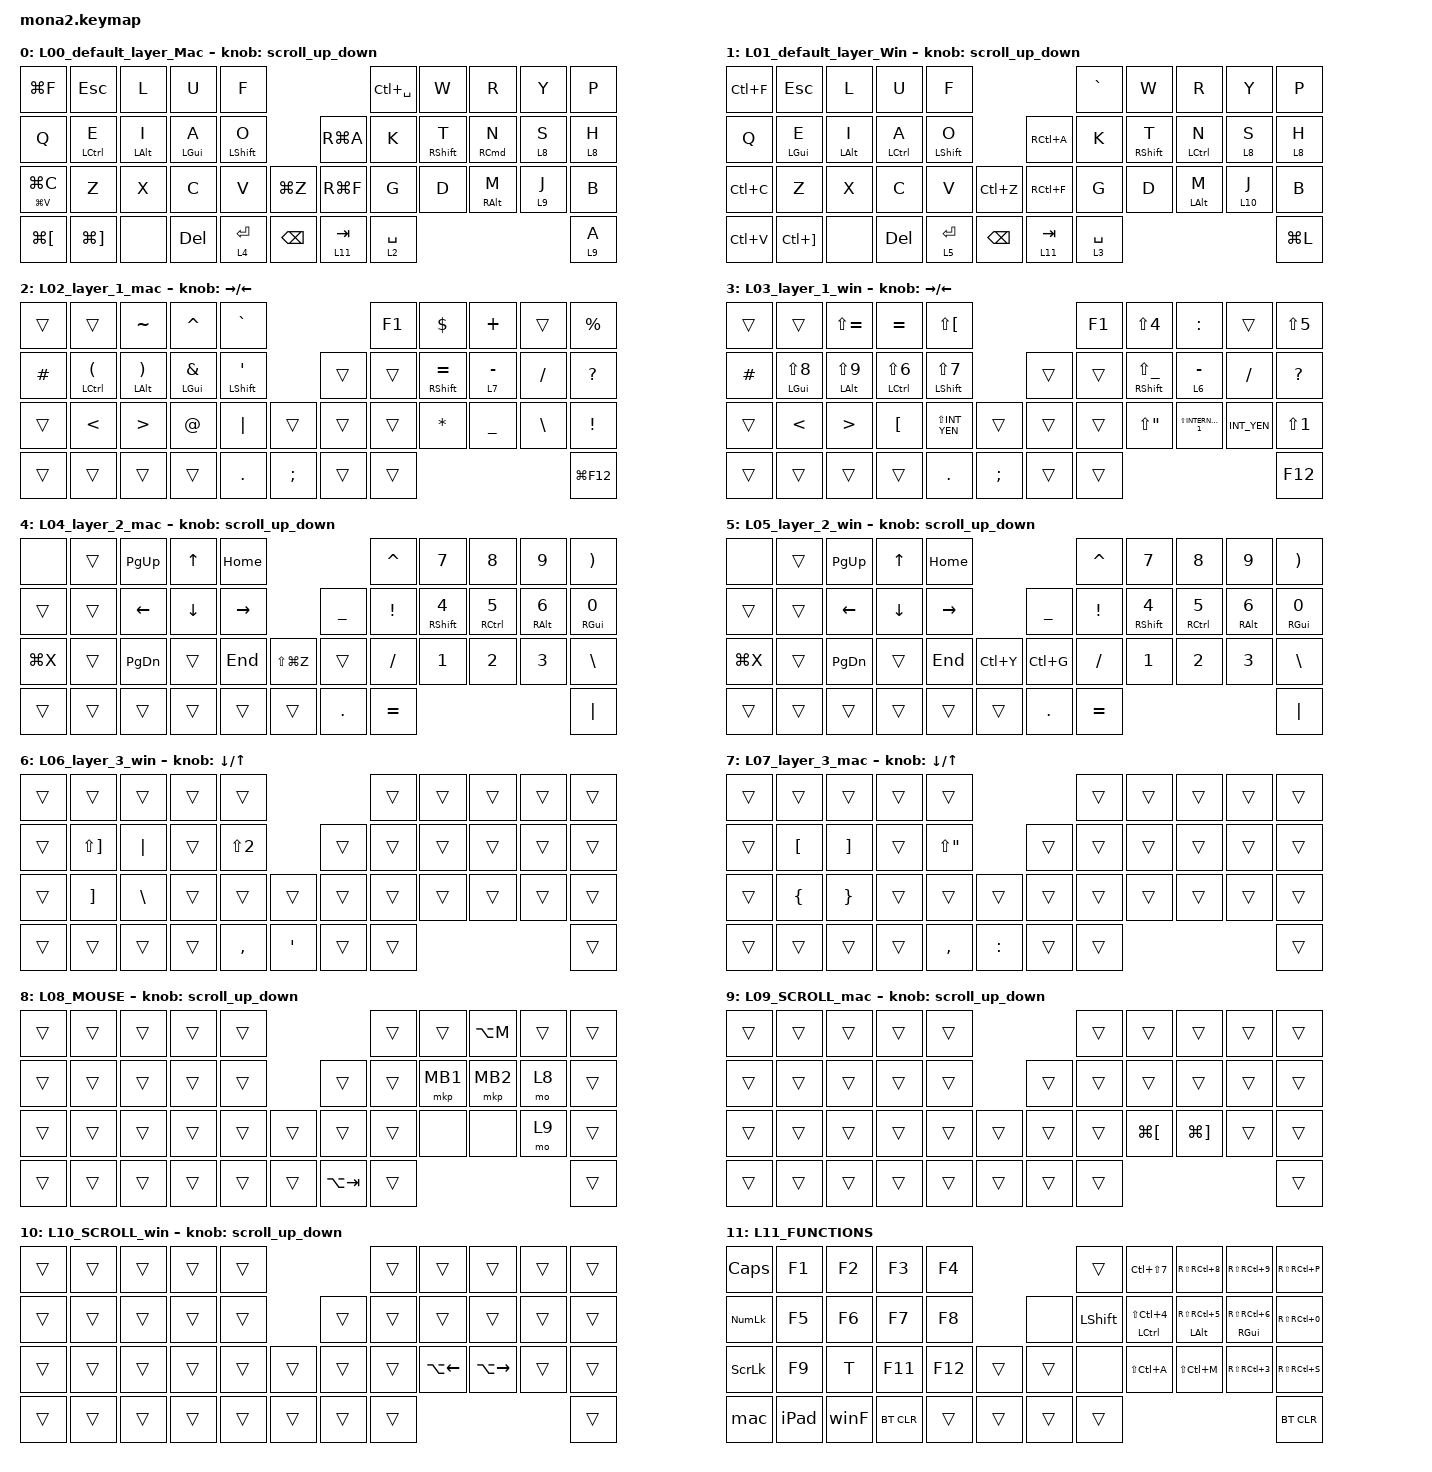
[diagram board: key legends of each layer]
#include <input/processors.dtsi>
#include <dt-bindings/zmk/input_transform.h>
#include <zephyr/dt-bindings/input/input-event-codes.h>
#include <behaviors.dtsi>
#include <dt-bindings/zmk/bt.h>
#include <dt-bindings/zmk/keys.h>
#include <dt-bindings/zmk/pointing.h>

#define ZMK_POINTING_DEFAULT_SCRL_VAL 100
#define MOUSE 5
#define SCROLL 6

// OS設定を日本語キーボードのまま使用するための変換定義

#define JP_DQUOTE       AT                // "
#define JP_AMPERSAND    CARET             // &
#define JP_QUOTE        AMPERSAND         // '
#define JP_EQUAL        UNDER             // =
#define JP_CARET        EQUAL             // ^
#define JP_YEN          0x89              // ¥
#define JP_PLUS         COLON             // +
#define JP_TILDE        PLUS              // ~
#define JP_PIPE         LS(0x89)          // |
#define JP_AT           LEFT_BRACKET      // @
#define JP_COLON        SINGLE_QUOTE      // :
#define JP_ASTERISK     DOUBLE_QUOTES     // *
#define JP_BACKQUOTE    LEFT_BRACE        // `
#define JP_UNDERSCORE   LS(0x87)          // _
#define JP_LBRACKET     RIGHT_BRACKET     // [
#define JP_RBRACKET     BACKSLASH         // ]
#define JP_LPAREN       ASTERISK          // (
#define JP_RPAREN       LEFT_PARENTHESIS  // )
#define JP_LBRACE       RIGHT_BRACE       // {
#define JP_RBRACE       PIPE              // }
#define JP_KANA         LANGUAGE_1        // かな
#define JP_EISU         LANGUAGE_2        // 英数
#define JP_HANZEN       GRAVE             // 半角/全角

&mt {
    flavor = "balanced";
    quick-tap-ms = <0>;
};

/ {
    combos {
        compatible = "zmk,combos";

        mc {
            bindings = <&mkp MB3>;
            key-positions = <18 17>;
            layers = <8>;
        };

        raycast {
            bindings = <&kp LA(LEFT_SHIFT)>;
            key-positions = <37 38>;
        };
    };

    macros {
        to_layer_0: to_layer_0 {
            compatible = "zmk,behavior-macro-one-param";
            #binding-cells = <1>;
            bindings = <&to 0 &macro_param_1to1 &kp MACRO_PLACEHOLDER>;
            label = "TO_LAYER_0";
        };

        mac: new_macro {
            compatible = "zmk,behavior-macro";
            #binding-cells = <0>;
            bindings =
                <&tog_off 1>,
                <&macro_wait_time 200>,
                <&bt BT_SEL 0>,
                <&macro_wait_time 500>;

            label = "NEW_MACRO";
        };

        iPad: win {
            compatible = "zmk,behavior-macro";
            #binding-cells = <0>;
            bindings =
                <&tog_off 1>,
                <&macro_wait_time 200>,
                <&bt BT_SEL 1>,
                <&macro_wait_time 500>,
                <&tog_on 0>;

            label = "WIN";
        };

        winF: winF {
            compatible = "zmk,behavior-macro";
            #binding-cells = <0>;
            bindings =
                <&tog_off 1>,
                <&macro_wait_time 200>,
                <&bt BT_SEL 3>,
                <&macro_wait_time 500>,
                <&tog_on 1>;

            label = "WINF";
        };
    };

    behaviors {
        lt_to_layer_0: lt_to_layer_0 {
            compatible = "zmk,behavior-hold-tap";
            label = "LAYER_TAP_TO_0";
            bindings = <&mo>, <&to_layer_0>;

            #binding-cells = <2>;
            tapping-term-ms = <200>;
        };

        scroll_up_down: sensorRotateMouseWheelUpDown {
            compatible = "zmk,behavior-sensor-rotate";
            #sensor-binding-cells = <0>;
            bindings = <&msc SCRL_UP>, <&msc SCRL_DOWN>;

            tap-ms = <20>;
            label = "mouse";
        };

        tog_on: toggle_layer_on_only {
            compatible = "zmk,behavior-toggle-layer";
            #binding-cells = <1>;
            display-name = "Toggle Layer On";
            toggle-mode = "on";
        };

        tog_off: toggle_layer_off_only {
            compatible = "zmk,behavior-toggle-layer";
            #binding-cells = <1>;
            display-name = "Toggle Layer Off";
            toggle-mode = "off";
        };
    };

    keymap {
        compatible = "zmk,keymap";

        L00_default_layer_Mac {
            bindings = <
&kp LG(F)             &kp ESC                &kp L           &kp U           &kp F                                          &kp LC(SPACE)  &kp W              &kp R                &kp Y    &kp P
&kp Q                 &mt LEFT_CONTROL E     &mt LEFT_ALT I  &mt LEFT_GUI A  &mt LEFT_SHIFT O                   &kp RG(A)   &kp K          &mt RIGHT_SHIFT T  &mt RIGHT_COMMAND N  &lt 8 S  &lt 8 H
&mt LG(V) LG(C)       &kp Z                  &kp X           &kp C           &kp V             &kp LG(Z)        &kp RG(F)   &kp G          &kp D              &mt RIGHT_ALT M      &lt 9 J  &kp B
&kp LG(LEFT_BRACKET)  &kp LG(RIGHT_BRACKET)  &none           &kp DELETE      &lt 4 ENTER       &kp BACKSPACE    &lt 11 TAB  &lt 2 SPACE                                                     &lt_to_layer_0 9 A
            >;

            sensor-bindings = <&scroll_up_down>;
        };

        L01_default_layer_Win {
            bindings = <
&kp LC(F)  &kp ESC                &kp L           &kp U               &kp F                                          &kp GRAVE    &kp W              &kp R               &kp Y     &kp P
&kp Q      &mt LEFT_GUI E         &mt LEFT_ALT I  &mt LEFT_CONTROL A  &mt LEFT_SHIFT O                   &kp RC(A)   &kp K        &mt RIGHT_SHIFT T  &mt LEFT_CONTROL N  &lt 8 S   &lt 8 H
&kp LC(C)  &kp Z                  &kp X           &kp C               &kp V             &kp LC(Z)        &kp RC(F)   &kp G        &kp D              &mt LEFT_ALT M      &lt 10 J  &kp B
&kp LC(V)  &kp LC(RIGHT_BRACKET)  &none           &kp DELETE          &lt 5 ENTER       &kp BACKSPACE    &lt 11 TAB  &lt 3 SPACE                                                   &kp LG(L)
            >;

            sensor-bindings = <&scroll_up_down>;
        };

        L02_layer_1_mac {
            bindings = <
&trans    &trans                             &kp TILDE                       &kp CARET               &kp GRAVE                                             &kp F1  &kp DOLLAR             &kp PLUS     &trans         &kp PERCENT
&kp HASH  &mt LEFT_CONTROL LEFT_PARENTHESIS  &mt LEFT_ALT RIGHT_PARENTHESIS  &mt LEFT_GUI AMPERSAND  &mt LEFT_SHIFT SINGLE_QUOTE                   &trans  &trans  &mt RIGHT_SHIFT EQUAL  &lt 7 MINUS  &kp SLASH      &kp QMARK
&trans    &kp LT                             &kp GT                          &kp AT_SIGN             &kp PIPE                     &trans           &trans  &trans  &kp ASTERISK           &kp UNDER    &kp BACKSLASH  &kp EXCLAMATION
&trans    &trans                             &trans                          &trans                  &kp PERIOD                   &kp SEMICOLON    &trans  &trans                                                     &kp LG(F12)
            >;

            sensor-bindings = <&inc_dec_kp RIGHT LEFT>;
        };

        L03_layer_1_win {
            bindings = <
&trans    &trans                     &kp LS(EQUAL)              &kp EQUAL                &kp LS(LBKT)                                          &kp F1  &kp LS(NUMBER_4)                &kp COLON                &trans       &kp LS(NUMBER_5)
&kp HASH  &mt LEFT_GUI LS(NUMBER_8)  &mt LEFT_ALT LS(NUMBER_9)  &mt LEFT_CONTROL LS(N6)  &mt LEFT_SHIFT LS(NUMBER_7)                   &trans  &trans  &mt RIGHT_SHIFT LS(UNDERSCORE)  &lt 6 MINUS              &kp SLASH    &kp QMARK
&trans    &kp LT                     &kp GT                     &kp LEFT_BRACKET         &kp LS(INT_YEN)              &trans           &trans  &trans  &kp LS(DOUBLE_QUOTES)           &kp LS(INTERNATIONAL_1)  &kp INT_YEN  &kp LS(NUMBER_1)
&trans    &trans                     &trans                     &trans                   &kp PERIOD                   &kp SEMICOLON    &trans  &trans                                                                        &kp F12
            >;

            sensor-bindings = <&inc_dec_kp RIGHT LEFT>;
        };

        L04_layer_2_mac {
            bindings = <
&none      &trans  &kp PAGE_UP     &kp UP_ARROW    &kp HOME                                          &kp CARET        &kp N7                    &kp N8                      &kp N9                  &kp RIGHT_PARENTHESIS
&trans     &trans  &kp LEFT_ARROW  &kp DOWN_ARROW  &kp RIGHT_ARROW                   &kp UNDERSCORE  &kp EXCLAMATION  &mt RIGHT_SHIFT NUMBER_4  &mt RIGHT_CONTROL NUMBER_5  &mt RIGHT_ALT NUMBER_6  &mt RIGHT_GUI NUMBER_0
&kp LG(X)  &trans  &kp PAGE_DOWN   &trans          &kp END          &kp LS(LG(Z))    &trans          &kp SLASH        &kp NUMBER_1              &kp NUMBER_2                &kp NUMBER_3            &kp BACKSLASH
&trans     &trans  &trans          &trans          &trans           &trans           &kp DOT         &kp EQUAL                                                                                      &kp PIPE
            >;

            sensor-bindings = <&scroll_up_down>;
        };

        L05_layer_2_win {
            bindings = <
&none      &trans  &kp PAGE_UP     &kp UP_ARROW    &kp HOME                                      &kp CARET        &kp N7                    &kp N8                      &kp N9                  &kp RIGHT_PARENTHESIS
&trans     &trans  &kp LEFT_ARROW  &kp DOWN_ARROW  &kp RIGHT_ARROW               &kp UNDERSCORE  &kp EXCLAMATION  &mt RIGHT_SHIFT NUMBER_4  &mt RIGHT_CONTROL NUMBER_5  &mt RIGHT_ALT NUMBER_6  &mt RIGHT_GUI NUMBER_0
&kp LG(X)  &trans  &kp PAGE_DOWN   &trans          &kp END          &kp LC(Y)    &kp LC(G)       &kp SLASH        &kp NUMBER_1              &kp NUMBER_2                &kp NUMBER_3            &kp BACKSLASH
&trans     &trans  &trans          &trans          &trans           &trans       &kp DOT         &kp EQUAL                                                                                      &kp PIPE
            >;

            sensor-bindings = <&scroll_up_down>;
        };

        L06_layer_3_win {
            bindings = <
&trans  &trans             &trans         &trans  &trans                                        &trans  &trans  &trans  &trans  &trans
&trans  &kp LS(RBKT)       &kp PIPE       &trans  &kp LS(NUMBER_2)                      &trans  &trans  &trans  &trans  &trans  &trans
&trans  &kp RIGHT_BRACKET  &kp BACKSLASH  &trans  &trans            &trans              &trans  &trans  &trans  &trans  &trans  &trans
&trans  &trans             &trans         &trans  &kp COMMA         &kp SINGLE_QUOTE    &trans  &trans                          &trans
            >;

            sensor-bindings = <&inc_dec_kp DOWN UP>;
        };

        L07_layer_3_mac {
            bindings = <
&trans  &trans            &trans             &trans  &trans                                      &trans  &trans  &trans  &trans  &trans
&trans  &kp LEFT_BRACKET  &kp RIGHT_BRACKET  &trans  &kp LS(DOUBLE_QUOTES)               &trans  &trans  &trans  &trans  &trans  &trans
&trans  &kp LEFT_BRACE    &kp RIGHT_BRACE    &trans  &trans                 &trans       &trans  &trans  &trans  &trans  &trans  &trans
&trans  &trans            &trans             &trans  &kp COMMA              &kp COLON    &trans  &trans                          &trans
            >;

            sensor-bindings = <&inc_dec_kp DOWN UP>;
        };

        L08_MOUSE {
            bindings = <
&trans  &trans  &trans  &trans  &trans                         &trans  &trans    &kp LA(M)  &trans  &trans
&trans  &trans  &trans  &trans  &trans            &trans       &trans  &mkp MB1  &mkp MB2   &mo 8   &trans
&trans  &trans  &trans  &trans  &trans  &trans    &trans       &trans  &none     &none      &mo 9   &trans
&trans  &trans  &trans  &trans  &trans  &trans    &kp LA(TAB)  &trans                               &trans
            >;

            sensor-bindings = <&scroll_up_down>;
        };

        L09_SCROLL_mac {
            bindings = <
&trans  &trans  &trans  &trans  &trans                    &trans  &trans                &trans                 &trans  &trans
&trans  &trans  &trans  &trans  &trans            &trans  &trans  &trans                &trans                 &trans  &trans
&trans  &trans  &trans  &trans  &trans  &trans    &trans  &trans  &kp LG(LEFT_BRACKET)  &kp LG(RIGHT_BRACKET)  &trans  &trans
&trans  &trans  &trans  &trans  &trans  &trans    &trans  &trans                                                       &trans
            >;

            sensor-bindings = <&scroll_up_down>;
        };

        L10_SCROLL_win {
            bindings = <
&trans  &trans  &trans  &trans  &trans                    &trans  &trans              &trans               &trans  &trans
&trans  &trans  &trans  &trans  &trans            &trans  &trans  &trans              &trans               &trans  &trans
&trans  &trans  &trans  &trans  &trans  &trans    &trans  &trans  &kp LA(LEFT_ARROW)  &kp LA(RIGHT_ARROW)  &trans  &trans
&trans  &trans  &trans  &trans  &trans  &trans    &trans  &trans                                                   &trans
            >;

            sensor-bindings = <&scroll_up_down>;
        };

        L11_FUNCTIONS {
            bindings = <
&kp CAPSLOCK    &kp F1  &kp F2  &kp F3      &kp F4                     &trans          &kp LC(LS(N7))                     &kp RS(RC(N8))           &kp RS(RC(N9))                  &kp RS(RC(P))
&kp KP_NUMLOCK  &kp F5  &kp F6  &kp F7      &kp F8             &none   &kp LEFT_SHIFT  &mt LEFT_CONTROL LS(LC(NUMBER_4))  &mt LEFT_ALT RS(RC(N5))  &mt RIGHT_GUI RS(RC(NUMBER_6))  &kp RS(RC(N0))
&kp SCROLLLOCK  &kp F9  &kp T   &kp F11     &kp F12  &trans    &trans  &none           &kp LS(LC(A))                      &kp LS(LC(M))            &kp RS(RC(NUMBER_3))            &kp RS(RC(S))
&mac            &iPad   &winF   &bt BT_CLR  &trans   &trans    &trans  &trans                                                                                                      &bt BT_CLR
            >;
        };
    };
};
